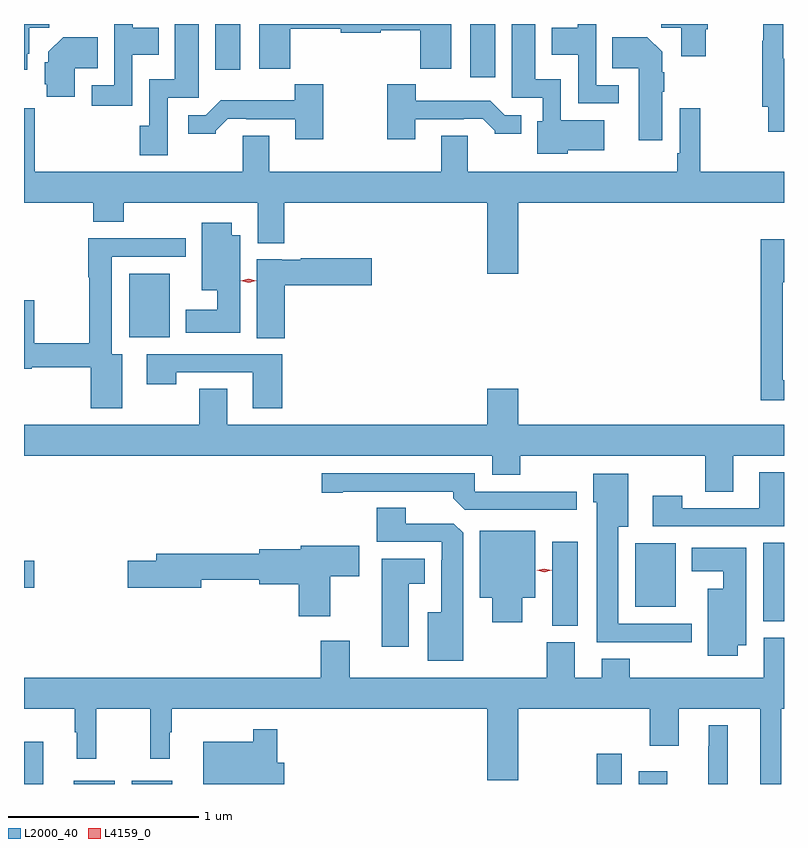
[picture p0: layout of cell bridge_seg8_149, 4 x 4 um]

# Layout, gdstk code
import gdstk
lib = gdstk.Library(unit=1e-6, precision=1e-09)
def R(c, l, rs):  # rectangles x0, y0, x1, y1
    for r in rs: c.add(gdstk.rectangle(r[:2], r[2:], *l))
def P(c, l, *ps):  # polygons
    for p in ps: c.add(gdstk.Polygon(p, *l))
L2000_40 = (2000, 40)
L4159_0 = (4159, 0)

bridge_seg8_149 = lib.new_cell('bridge_seg8_149')
R(bridge_seg8_149, L2000_40, [(510.222,1148.073,510.322,1148.296), (510.485,1148.073,510.7,1148.089), (510.788,1148.073,511.003,1148.089), (513.236,1148.073,513.367,1148.233), (513.458,1148.073,513.607,1148.14), (513.002,1148.905,513.136,1149.349), (514.112,1148.929,514.222,1149.344), (513.44,1149.005,513.652,1149.34), (510.222,1149.106,510.277,1149.248), (510.776,1150.424,510.988,1150.759), (512.57,1151.793,512.701,1152.073), (511.229,1151.832,511.36,1152.073)])
P(bridge_seg8_149, L2000_40, [(510.238,1151.916),(510.25,1151.916),(510.25,1152.052),(510.355,1152.052),(510.355,1152.073),(510.222,1152.073),(510.222,1151.831),(510.238,1151.831)],
  [(514.222,1151.89),(514.217,1151.89),(514.217,1152.073),(514.114,1152.073),(514.114,1151.986),(514.107,1151.986),(514.107,1151.637),(514.138,1151.637),(514.138,1151.507),(514.222,1151.507)],
  [(513.352,1151.751),(513.234,1151.751),(513.234,1152.073),(513.136,1152.073),(513.136,1152.052),(512.999,1152.052),(512.999,1151.912),(513.138,1151.912),(513.138,1151.655),(513.352,1151.655)],
  [(510.792,1151.912),(510.931,1151.912),(510.931,1152.052),(510.795,1152.052),(510.795,1152.073),(510.696,1152.073),(510.696,1151.751),(510.579,1151.751),(510.579,1151.643),(510.792,1151.643)],
  [(513.81,1152.045),(513.82,1152.045),(513.82,1152.073),(513.575,1152.073),(513.575,1152.052),(513.68,1152.052),(513.68,1151.904),(513.81,1151.904)],
  [(511.622,1152.049),(511.89,1152.049),(511.89,1152.026),(512.1,1152.026),(512.1,1152.041),(512.308,1152.041),(512.308,1151.837),(512.47,1151.837),(512.47,1152.073),(511.46,1152.073),(511.46,1151.837),(511.622,1151.837)],
  [(513.084,1151.408),(513.277,1151.408),(513.277,1151.566),(513.048,1151.566),(513.048,1151.782),(512.914,1151.782),(512.914,1152.073),(512.789,1152.073),(512.789,1151.685),(512.952,1151.685),(512.952,1151.562),(512.924,1151.562),(512.924,1151.39),(513.084,1151.39)],
  [(510.978,1151.685),(511.141,1151.685),(511.141,1152.073),(511.016,1152.073),(511.016,1151.782),(510.882,1151.782),(510.882,1151.538),(510.83,1151.538),(510.83,1151.382),(510.978,1151.382)],
  [(510.49,1151.84),(510.611,1151.84),(510.611,1152.004),(510.428,1152.004),(510.35,1151.926),(510.35,1151.871),(510.332,1151.871),(510.332,1151.757),(510.343,1151.757),(510.343,1151.69),(510.49,1151.69)],
  [(513.58,1151.716),(513.593,1151.716),(513.593,1151.819),(513.58,1151.819),(513.58,1151.926),(513.502,1152.004),(513.319,1152.004),(513.319,1151.84),(513.458,1151.84),(513.458,1151.46),(513.58,1151.46)],
  [(511.797,1151.755),(511.647,1151.755),(511.647,1151.671),(511.258,1151.671),(511.179,1151.592),(511.086,1151.592),(511.086,1151.495),(511.23,1151.495),(511.23,1151.51),(511.294,1151.574),(511.393,1151.574),(511.393,1151.571),(511.649,1151.571),(511.649,1151.466),(511.797,1151.466)],
  [(512.281,1151.571),(512.537,1151.571),(512.537,1151.574),(512.636,1151.574),(512.7,1151.51),(512.7,1151.495),(512.839,1151.495),(512.839,1151.592),(512.751,1151.592),(512.675,1151.668),(512.284,1151.668),(512.284,1151.755),(512.134,1151.755),(512.134,1151.466),(512.281,1151.466)],
  [(511.451,1150.919),(511.592,1150.919),(511.592,1151.132),(512.66,1151.132),(512.66,1150.758),(512.824,1150.758),(512.824,1151.132),(514.222,1151.132),(514.222,1151.296),(513.781,1151.296),(513.781,1151.629),(513.672,1151.629),(513.672,1151.392),(513.66,1151.392),(513.66,1151.296),(512.557,1151.296),(512.557,1151.486),(512.417,1151.486),(512.417,1151.296),(511.513,1151.296),(511.513,1151.486),(511.373,1151.486),(511.373,1151.296),(510.278,1151.296),(510.278,1151.629),(510.222,1151.629),(510.222,1151.132),(510.587,1151.132),(510.587,1151.033),(510.747,1151.033),(510.747,1151.132),(511.451,1151.132)],
  [(511.36,1150.96),(511.315,1150.96),(511.315,1151.026),(511.157,1151.026),(511.157,1150.673),(511.238,1150.673),(511.238,1150.57),(511.073,1150.57),(511.073,1150.448),(511.36,1150.448)],
  [(510.739,1150.336),(510.685,1150.336),(510.685,1150.848),(511.072,1150.848),(511.072,1150.946),(510.56,1150.946),(510.56,1150.741),(510.565,1150.741),(510.565,1150.394),(510.276,1150.394),(510.276,1150.618),(510.222,1150.618),(510.222,1150.258),(510.264,1150.258),(510.264,1150.266),(510.572,1150.266),(510.572,1150.05),(510.739,1150.05)],
  [(514.222,1150.197),(514.215,1150.197),(514.215,1150.713),(514.222,1150.713),(514.222,1150.939),(514.099,1150.939),(514.099,1150.092),(514.222,1150.092)],
  [(511.595,1150.697),(512.053,1150.697),(512.053,1150.839),(511.678,1150.839),(511.678,1150.831),(511.578,1150.831),(511.578,1150.834),(511.448,1150.834),(511.448,1150.42),(511.595,1150.42)],
  [(511.58,1150.335),(510.867,1150.335),(510.867,1150.176),(511.023,1150.176),(511.023,1150.239),(511.427,1150.239),(511.427,1150.05),(511.58,1150.05)],
  [(513.955,1149.8),(514.222,1149.8),(514.222,1149.964),(512.824,1149.964),(512.824,1150.153),(512.66,1150.153),(512.66,1149.964),(511.291,1149.964),(511.291,1150.154),(511.144,1150.154),(511.144,1149.964),(510.222,1149.964),(510.222,1149.8),(512.687,1149.8),(512.687,1149.701),(512.835,1149.701),(512.835,1149.8),(513.808,1149.8),(513.808,1149.61),(513.955,1149.61)],
  [(514.222,1149.715),(514.091,1149.715),(514.091,1149.525),(513.687,1149.525),(513.687,1149.589),(513.531,1149.589),(513.531,1149.429),(514.222,1149.429)],
  [(513.13,1149.612),(512.595,1149.612),(512.595,1149.708),(511.788,1149.708),(511.788,1149.607),(511.9,1149.607),(511.9,1149.612),(512.48,1149.612),(512.48,1149.578),(512.541,1149.516),(513.13,1149.516)],
  [(513.736,1148.916),(513.349,1148.916),(513.349,1149.428),(513.403,1149.428),(513.403,1149.706),(513.218,1149.706),(513.218,1149.555),(513.236,1149.555),(513.236,1148.819),(513.736,1148.819)],
  [(512.533,1149.395),(512.484,1149.444),(512.23,1149.444),(512.23,1149.527),(512.078,1149.527),(512.078,1149.348),(512.421,1149.348),(512.421,1149.251),(512.417,1149.251),(512.417,1148.977),(512.348,1148.977),(512.348,1148.723),(512.533,1148.723)],
  [(512.845,1149.053),(512.914,1149.053),(512.914,1149.406),(512.621,1149.406),(512.621,1149.053),(512.687,1149.053),(512.687,1148.925),(512.845,1148.925)],
  [(511.834,1149.166),(511.987,1149.166),(511.987,1149.328),(511.679,1149.328),(511.679,1149.308),(511.46,1149.308),(511.46,1149.284),(510.917,1149.284),(510.917,1149.248),(510.768,1149.248),(510.768,1149.106),(511.156,1149.106),(511.156,1149.148),(511.46,1149.148),(511.46,1149.125),(511.667,1149.125),(511.667,1148.955),(511.834,1148.955)],
  [(513.979,1148.804),(514.024,1148.804),(514.024,1149.316),(513.737,1149.316),(513.737,1149.194),(513.902,1149.194),(513.902,1149.1),(513.821,1149.1),(513.821,1148.748),(513.979,1148.748)],
  [(512.248,1149.128),(512.332,1149.128),(512.332,1149.259),(512.105,1149.259),(512.105,1148.796),(512.248,1148.796)],
  [(514.207,1148.468),(514.222,1148.468),(514.222,1148.844),(514.115,1148.844),(514.115,1148.632),(513.411,1148.632),(513.411,1148.731),(513.263,1148.731),(513.263,1148.632),(513.121,1148.632),(513.121,1148.82),(512.974,1148.82),(512.974,1148.632),(511.936,1148.632),(511.936,1148.827),(511.784,1148.827),(511.784,1148.632),(510.222,1148.632),(510.222,1148.468),(510.489,1148.468),(510.489,1148.345),(510.5,1148.345),(510.5,1148.205),(510.602,1148.205),(510.602,1148.468),(510.886,1148.468),(510.886,1148.205),(510.988,1148.205),(510.988,1148.345),(511,1148.345),(511,1148.468),(512.66,1148.468),(512.66,1148.094),(512.824,1148.094),(512.824,1148.468),(513.515,1148.468),(513.515,1148.274),(513.667,1148.274),(513.667,1148.468),(514.097,1148.468),(514.097,1148.073),(514.207,1148.073)],
  [(513.925,1148.383),(513.827,1148.383),(513.827,1148.273),(513.823,1148.273),(513.823,1148.073),(513.925,1148.073)],
  [(511.591,1148.185),(511.556,1148.185),(511.556,1148.362),(511.428,1148.362),(511.428,1148.296),(511.166,1148.296),(511.166,1148.073),(511.591,1148.073)])
P(bridge_seg8_149, L4159_0, [(512.96,1149.188),(512.921,1149.197),(512.921,1149.197),(512.921,1149.198),(512.96,1149.207),(513,1149.198),(513,1149.198),(513,1149.197)],
  [(511.404,1150.712),(511.364,1150.723),(511.364,1150.723),(511.364,1150.723),(511.404,1150.732),(511.444,1150.722),(511.444,1150.722),(511.444,1150.722)])

lib.write_gds('bridge_seg8_149.gds')
